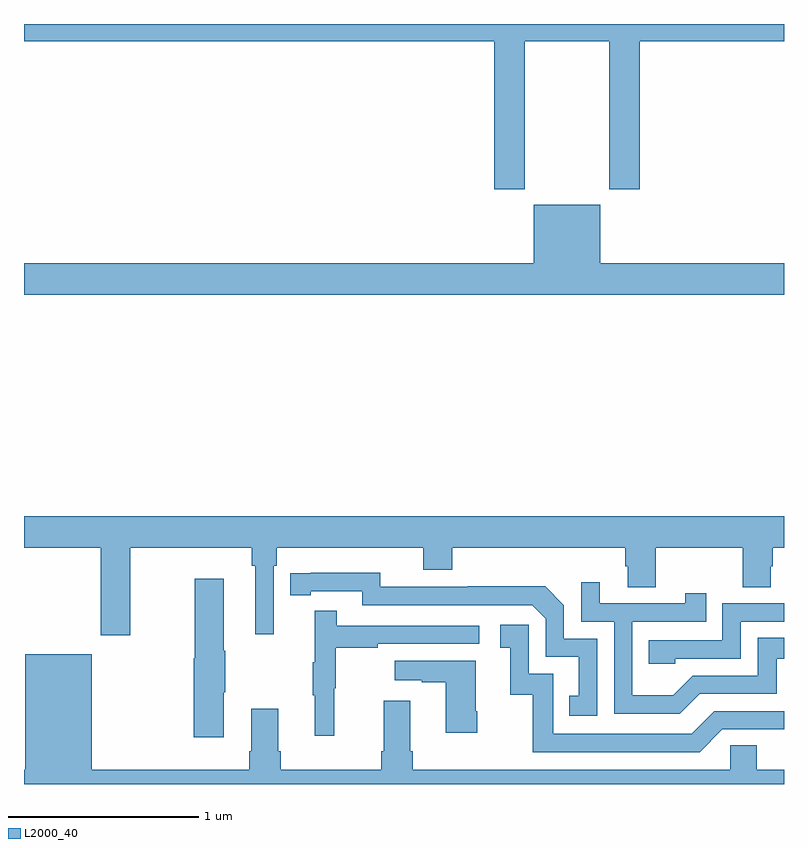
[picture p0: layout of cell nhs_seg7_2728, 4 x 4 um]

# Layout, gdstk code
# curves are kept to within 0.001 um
import gdstk
lib = gdstk.Library(unit=1e-6, precision=1e-09)
def P(c, l, *ps):  # polygons
    for p in ps: c.add(gdstk.Polygon(p, *l))
L2000_40 = (2000, 40)

nhs_seg7_2728 = lib.new_cell('nhs_seg7_2728')
P(nhs_seg7_2728, L2000_40, [(289.635,1041.908),(290.08,1041.908),(290.08,1041.129),(290.24,1041.129),(290.24,1041.908),(291,1041.908),(291,1042),(287,1042),(287,1041.908),(289.475,1041.908),(289.475,1041.129),(289.635,1041.129)],
  [(291,1040.74),(290.032,1040.74),(290.032,1041.049),(289.682,1041.049),(289.682,1040.74),(287,1040.74),(287,1040.576),(291,1040.576)],
  [(287.559,1039.244),(288.199,1039.244),(288.199,1039.148),(288.218,1039.148),(288.218,1038.789),(288.315,1038.789),(288.315,1039.148),(288.329,1039.148),(288.329,1039.244),(289.1,1039.244),(289.1,1039.127),(289.253,1039.127),(289.253,1039.244),(290.165,1039.244),(290.165,1039.146),(290.177,1039.146),(290.177,1039.036),(290.325,1039.036),(290.325,1039.244),(290.782,1039.244),(290.782,1039.036),(290.929,1039.036),(290.929,1039.146),(290.942,1039.146),(290.942,1039.244),(291,1039.244),(291,1039.408),(287,1039.408),(287,1039.244),(287.404,1039.244),(287.404,1038.783),(287.559,1038.783)],
  [(290.016,1038.765),(289.842,1038.765),(289.842,1038.942),(289.744,1039.04),(289.336,1039.04),(289.336,1039.038),(288.876,1039.038),(288.876,1039.111),(288.4,1039.11),(288.4,1038.994),(288.508,1038.994),(288.508,1039.014),(288.78,1039.014),(288.78,1038.942),(289.674,1038.942),(289.746,1038.87),(289.746,1038.669),(289.919,1038.669),(289.919,1038.465),(289.87,1038.465),(289.87,1038.36),(290.016,1038.36)],
  [(288.052,1038.484),(288.06,1038.484),(288.06,1038.701),(288.052,1038.701),(288.052,1039.081),(287.899,1039.081),(287.899,1038.663),(287.894,1038.663),(287.894,1038.246),(288.052,1038.246)],
  [(290.557,1038.474),(290.961,1038.474),(290.961,1038.659),(291,1038.659),(291,1038.769),(290.862,1038.769),(290.862,1038.57),(290.52,1038.57),(290.416,1038.466),(290.202,1038.466),(290.202,1038.855),(290.591,1038.855),(290.591,1039.003),(290.48,1039.003),(290.48,1038.951),(290.029,1038.951),(290.029,1039.063),(289.932,1039.063),(289.932,1038.855),(290.106,1038.855),(290.106,1038.369),(290.452,1038.369)],
  [(290.427,1038.66),(290.772,1038.66),(290.772,1038.855),(291,1038.855),(291,1038.951),(290.676,1038.951),(290.676,1038.756),(290.287,1038.756),(290.287,1038.633),(290.427,1038.633)],
  [(288.632,1038.504),(288.64,1038.504),(288.64,1038.718),(288.863,1038.718),(288.863,1038.738),(289.396,1038.738),(289.396,1038.834),(288.647,1038.834),(288.647,1038.913),(288.53,1038.913),(288.53,1038.641),(288.519,1038.641),(288.519,1038.467),(288.53,1038.467),(288.53,1038.255),(288.632,1038.255)],
  [(290.676,1038.288),(291,1038.288),(291,1038.384),(290.634,1038.384),(290.514,1038.264),(289.785,1038.264),(289.785,1038.579),(289.656,1038.579),(289.656,1038.838),(289.506,1038.838),(289.506,1038.717),(289.559,1038.717),(289.559,1038.471),(289.677,1038.471),(289.677,1038.168),(290.556,1038.168)],
  [(289.386,1038.382),(289.378,1038.382),(289.378,1038.649),(288.951,1038.649),(288.951,1038.545),(289.094,1038.545),(289.094,1038.535),(289.22,1038.535),(289.22,1038.27),(289.386,1038.27)],
  [(288.197,1038.397),(288.197,1038.172),(288.185,1038.172),(288.185,1038.076),(287.356,1038.076),(287.356,1038.682),(287.006,1038.682),(287.006,1038.076),(287,1038.076),(287,1038),(291,1038),(291,1038.076),(290.857,1038.076),(290.857,1038.203),(290.718,1038.203),(290.718,1038.076),(289.046,1038.076),(289.046,1038.172),(289.033,1038.172),(289.033,1038.439),(288.893,1038.439),(288.893,1038.172),(288.881,1038.172),(288.881,1038.076),(288.35,1038.076),(288.35,1038.172),(288.337,1038.172),(288.337,1038.397)])

lib.write_gds('nhs_seg7_2728.gds')
